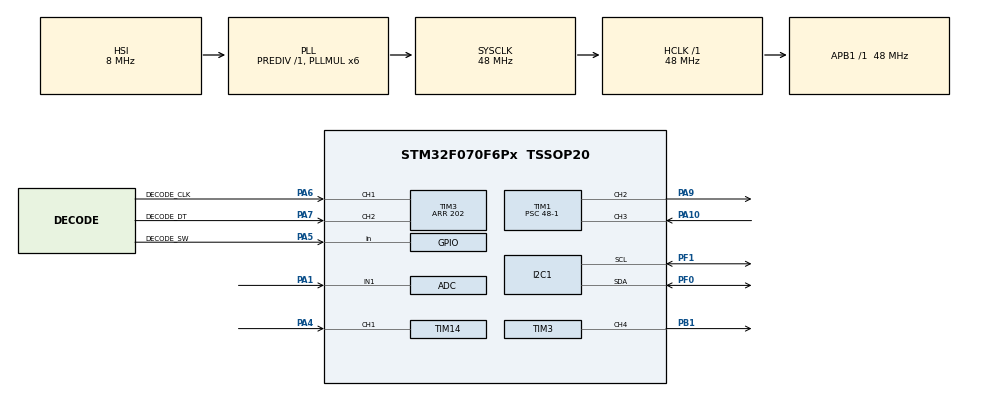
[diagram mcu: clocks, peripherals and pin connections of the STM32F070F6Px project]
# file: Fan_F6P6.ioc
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Mcu.Family=STM32F0
Mcu.Name=STM32F070F6Px
Mcu.Package=TSSOP20
NVIC.TIM16_IRQn=true\:0\:0\:false\:false\:true\:true\:true\:true
NVIC.TIM17_IRQn=true\:0\:0\:false\:false\:true\:true\:true\:true
NVIC.TIM1_CC_IRQn=true\:0\:0\:false\:false\:true\:true\:true\:true
PA1.Mode=IN1
PA1.Signal=ADC_IN1
PA10.Signal=S_TIM1_CH3
PA13.Mode=Serial_Wire
PA13.Signal=SYS_SWDIO
PA14.Mode=Serial_Wire
PA14.Signal=SYS_SWCLK
PA4.Signal=S_TIM14_CH1
PA5.GPIO_Label=DECODE_SW
PA5.GPIO_PuPd=GPIO_PULLUP
PA5.Signal=GPIO_Input
PA6.GPIO_Label=DECODE_CLK
PA6.GPIO_PuPd=GPIO_PULLUP
PA6.Signal=S_TIM3_CH1
PA7.GPIO_Label=DECODE_DT
PA7.GPIO_PuPd=GPIO_PULLUP
PA7.Signal=S_TIM3_CH2
PA9.Signal=S_TIM1_CH2
PB1.Signal=S_TIM3_CH4
PF0-OSC_IN.Mode=I2C
PF0-OSC_IN.Signal=I2C1_SDA
PF1-OSC_OUT.Mode=I2C
PF1-OSC_OUT.Signal=I2C1_SCL
ProjectManager.HeapSize=0x200
ProjectManager.StackSize=0x400
ProjectManager.TargetToolchain=STM32CubeIDE
RCC.AHBFreq_Value=48000000
RCC.APB1Freq_Value=48000000
RCC.APB1TimFreq_Value=48000000
RCC.HCLKFreq_Value=48000000
RCC.PLLMUL=RCC_PLL_MUL6
RCC.SYSCLKFreq_VALUE=48000000
RCC.SYSCLKSource=RCC_SYSCLKSOURCE_PLLCLK
SH.S_TIM14_CH1.0=TIM14_CH1,Input_Capture1_from_TI1
SH.S_TIM1_CH2.0=TIM1_CH2,PWM Generation2 CH2
SH.S_TIM1_CH3.0=TIM1_CH3,Input_Capture3_from_TI3
SH.S_TIM3_CH1.0=TIM3_CH1,Encoder_Interface
SH.S_TIM3_CH2.0=TIM3_CH2,Encoder_Interface
SH.S_TIM3_CH4.0=TIM3_CH4,PWM Generation4 CH4
TIM1.Channel-Input_Capture3_from_TI3=TIM_CHANNEL_3
TIM1.Channel-PWM\ Generation2\ CH2=TIM_CHANNEL_2
TIM1.ICFilter_CH3=5
TIM1.ICPolarity_CH3=TIM_INPUTCHANNELPOLARITY_FALLING
TIM1.ICPrescaler-Input_Capture3_from_TI3=TIM_ICPSC_DIV4
TIM1.OC2Preload_PWM=DISABLE
TIM1.Period=100
TIM1.Prescaler=48-1
TIM1.Pulse-PWM\ Generation2\ CH2=50
TIM14.Channel=TIM_CHANNEL_1
TIM14.ICFilter_CH1=15
TIM16.Period=1000-1
TIM16.Prescaler=48000-1
TIM17.Period=250-1
TIM17.Prescaler=48000-1
TIM3.Channel-PWM\ Generation4\ CH4=TIM_CHANNEL_4
TIM3.IC1Filter=15
TIM3.IC1Polarity=TIM_ICPOLARITY_FALLING
TIM3.IC2Filter=15
TIM3.IC2Polarity=TIM_ICPOLARITY_FALLING
TIM3.Period=202
VP_TIM14_VS_ClockSourceINT.Mode=Enable_Timer
VP_TIM16_VS_ClockSourceINT.Mode=Enable_Timer
VP_TIM17_VS_ClockSourceINT.Mode=Enable_Timer
board=custom

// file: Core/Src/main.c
/* USER CODE BEGIN Header */
/**
  ******************************************************************************
  * @file           : main.c
  * @brief          : Main program body
  ******************************************************************************
  * @attention
  *
  * Copyright (c) 2024 STMicroelectronics.
  * All rights reserved.
  *
  * This software is licensed under terms that can be found in the LICENSE file
  * in the root directory of this software component.
  * If no LICENSE file comes with this software, it is provided AS-IS.
  *
  ******************************************************************************
  */
/* USER CODE END Header */
#include "main.h"
#include "adc.h"
#include "i2c.h"
#include "tim.h"
#include "gpio.h"

/* USER CODE BEGIN Includes */
#include "u8g2/u8g2.h"
/* USER CODE END Includes */

/* USER CODE BEGIN PTD */
static u8g2_t u8g2;
/* USER CODE END PTD */

/* USER CODE BEGIN PV */

const char *data[] = {
    "000", "001", "002", "003", "004", "005", "006", "007", "008", "009",
    "010", "011", "012", "013", "014", "015", "016", "017", "018", "019",
    "020", "021", "022", "023", "024", "025", "026", "027", "028", "029",
    "030", "031", "032", "033", "034", "035", "036", "037", "038", "039",
    "040", "041", "042", "043", "044", "045", "046", "047", "048", "049",
    "050", "051", "052", "053", "054", "055", "056", "057", "058", "059",
    "060", "061", "062", "063", "064", "065", "066", "067", "068", "069",
    "070", "071", "072", "073", "074", "075", "076", "077", "078", "079",
    "080", "081", "082", "083", "084", "085", "086", "087", "088", "089",
    "090", "091", "092", "093", "094", "095", "096", "097", "098", "099",
    "100"
};

const char *Rdata[] = {"0", "1", "2", "3", "4", "5", "6", "7", "8", "9"};

int pos = 0;
int posValue[128] = {};

uint32_t Fan1_RValue = 0;
int Fan1_RData[5];
int Fan1_Speed = 0;
int Fan2_Speed = 0;
int Fan_number = 1;
int Before_Speed = 0;
int After_Speed = 0;

int long_SW = 320000;

/* USER CODE END PV */

void SystemClock_Config(void);
/* USER CODE BEGIN PFP */

void drawCurve(u8g2_t u8g2, int value) {
//  u8g2_DrawCircle(&u8g2,15,45,1,U8G2_DRAW_ALL);
  if (pos > 128) {
    pos = 15;
  } else if (pos < 15) {
    pos = 15;
  }
  pos = pos + 1;
  posValue[pos - 15] = value;
  u8g2_DrawVLine(&u8g2, pos, 0, 46);
  for (int i = 0; i < 115; i++) {
    int y1 = 46 - ((posValue[i] / 2));
    int y2 = 46 - ((posValue[i] / 2));
    if (y1 <= 0) {
      y1 = 0;
    } else if (y1 >= 46) {
      y1 = 46;
    }
    if (y2 <= 0) {
      y2 = 0;
    } else if (y2 >= 46) {
      y2 = 46;
    }
    u8g2_DrawLine(&u8g2, i + 15, y1, i + 15, y2);
//    u8g2_DrawPixel(&u8g2, i + 15, y1);
  }

}

void drawUI(u8g2_t u8g2) {
  u8g2_SetFontDirection(&u8g2, 3);
  u8g2_DrawStr(&u8g2, 14, 24, "Fan1");
  u8g2_DrawHLine(&u8g2, 3, 0, 13);

  u8g2_DrawStr(&u8g2, 14, 61, "Fan2");

  u8g2_DrawVLine(&u8g2, 15, 0, 64);

  if (Fan_number == 1) {
    u8g2_DrawLine(&u8g2, 14, 35, 3, 24);
    u8g2_DrawLine(&u8g2, 10, 32, 3, 39);
  } else if (Fan_number == 2) {
    u8g2_DrawLine(&u8g2, 10, 31, 3, 24);
    u8g2_DrawLine(&u8g2, 14, 28, 3, 39);
  }

  u8g2_DrawVLine(&u8g2, 3, 0, 24);
  // u8g2_DrawLine(&u8g2,14,35,3,24);
//  u8g2_DrawLine(&u8g2, 10, 31, 3, 24);

  u8g2_DrawVLine(&u8g2, 3, 39, 24);
  // u8g2_DrawLine(&u8g2, 14, 28, 3, 39);
//  u8g2_DrawLine(&u8g2,10,32,3,39);

  for (int i = 0; i < 10; i++) {
    for (int j = 0; j < 22; j++) {
      u8g2_DrawPixel(&u8g2, 20 + (5 * j), (5 * i) + 1);
    }
  }

  u8g2_DrawHLine(&u8g2, 15, 46, 113);
  u8g2_SetFontDirection(&u8g2, 0);
  if (Fan1_Speed == 0 && Fan_number == 1){
    u8g2_DrawStr(&u8g2, 19, 59, "OFF");
  } else if (Fan1_Speed != 0 && Fan_number == 1){
    u8g2_DrawStr(&u8g2, 22, 59, "ON");
  }

  if (Fan2_Speed == 0 && Fan_number == 2){
    u8g2_DrawStr(&u8g2, 19, 59, "OFF");
  } else if (Fan2_Speed != 0 && Fan_number == 2){
    u8g2_DrawStr(&u8g2, 22, 59, "ON");
  }

//  u8g2_DrawStr(&u8g2, 22, 59, "ON");
//  u8g2_DrawStr(&u8g2,19,60,"OFF");

  u8g2_DrawVLine(&u8g2, 41, 46, 18);

  u8g2_DrawStr(&u8g2, 46, 59, "S.");
  u8g2_DrawStr(&u8g2, 75, 59, "%");
  //  u8g2_DrawStr(&u8g2, 57, 60, data[0]);
  //  u8g2_DrawStr(&u8g2, 57, 60, "10");
  //  u8g2_DrawStr(&u8g2, 57, 60, "AUTO");

  u8g2_DrawStr(&u8g2, 85, 59, "R.");
  u8g2_DrawStr(&u8g2, 96, 59, Rdata[Fan1_RData[4]]);
  u8g2_DrawStr(&u8g2, 102, 59, Rdata[Fan1_RData[3]]);
  u8g2_DrawStr(&u8g2, 108, 59, Rdata[Fan1_RData[2]]);
  u8g2_DrawStr(&u8g2, 114, 59, Rdata[Fan1_RData[1]]);
  u8g2_DrawStr(&u8g2, 120, 59, Rdata[Fan1_RData[0]]);
  //  u8g2_DrawStr(&u8g2, 96, 60, "-----");
  //  u8g2_DrawStr(&u8g2,97,60,"00000"); // 57
  u8g2_DrawVLine(&u8g2, 127, 46, 18);
  u8g2_DrawHLine(&u8g2, 3, 63, 125);

}

/* USER CODE END PFP */

/* USER CODE BEGIN 0 */
void HAL_TIM_IC_CaptureCallback(TIM_HandleTypeDef *htim) {
  if (htim == &htim1 && htim->Channel == HAL_TIM_ACTIVE_CHANNEL_3) {
    Fan1_RValue = Fan1_RValue + HAL_TIM_ReadCapturedValue(htim, TIM_CHANNEL_3);
    if (Fan1_RValue >= 100000) {
      Fan1_RValue = 99999;
    }
    Fan1_RData[0] = Fan1_RValue % 10;        // 个位
    Fan1_RData[1] = (Fan1_RValue / 10) % 10;  // 十位
    Fan1_RData[2] = (Fan1_RValue / 100) % 10; // 百位
    Fan1_RData[3] = (Fan1_RValue / 1000) % 10; // 千位
    Fan1_RData[4] = (Fan1_RValue / 10000) % 10; // 万位
  }

}

void HAL_TIM_PeriodElapsedCallback(TIM_HandleTypeDef *htim) {
  if (htim == &htim16) {
    Fan1_RValue = 0;
  }
  if (htim == &htim17) {
    if (Fan1_Speed > 201) {
      Fan1_Speed = 200;
    } else if (Fan1_Speed < 0) {
      Fan1_Speed = 0;
    }
    if (Fan2_Speed > 201) {
      Fan2_Speed = 200;
    } else if (Fan2_Speed < 0) {
      Fan2_Speed = 0;
    }
    u8g2_ClearBuffer(&u8g2);
    // u8g2_DrawLine(&u8g2, 10, 10, 10, long_SW / 100);
    drawUI(u8g2);
    if (Fan_number == 1) {
      drawCurve(u8g2, Fan1_Speed / 2);
      u8g2_DrawStr(&u8g2, 57, 59, data[Fan1_Speed / 2]);
    } else {
      drawCurve(u8g2, Fan2_Speed / 2);
      u8g2_DrawStr(&u8g2, 57, 59, data[Fan2_Speed / 2]);
    }

    u8g2_SendBuffer(&u8g2);
  }
}

/* USER CODE END 0 */

int main(void)
{

  /* MCU Configuration--------------------------------------------------------*/

  /* Reset of all peripherals, Initializes the Flash interface and the Systick. */
  HAL_Init();

  /* Configure the system clock */
  SystemClock_Config();

  /* Initialize all configured peripherals */
  MX_GPIO_Init();
  MX_ADC_Init();
  MX_I2C1_Init();
  MX_TIM1_Init();
  MX_TIM3_Init();
  MX_TIM14_Init();
  MX_TIM16_Init();
  MX_TIM17_Init();
  /* USER CODE BEGIN 2 */

  u8g2Init(&u8g2);

  // HAL_TIM_Base_Start_IT(&htim1);

  HAL_TIM_Encoder_Start(&htim3, TIM_CHANNEL_1 | TIM_CHANNEL_2);

  HAL_TIM_Base_Start(&htim1);

  HAL_TIM_Base_Start_IT(&htim16);
  HAL_TIM_Base_Start_IT(&htim17);
  HAL_TIM_PWM_Start(&htim3, TIM_CHANNEL_4); // fan2 pwm output
  HAL_TIM_PWM_Start(&htim1, TIM_CHANNEL_2); // fan1 pwm output
  HAL_TIM_IC_Start_IT(&htim1, TIM_CHANNEL_3);

//  HAL_TIM_PWM_Start_IT(&htim16, TIM_CHANNEL_1);

  //  fan1 pwm input
  //  HAL_TIM_IC_Start(&htim1, TIM_CHANNEL_3);
  //  HAL_TIM_IC_Start(&htim1, TIM_CHANNEL_4);
  //
  //  fan2 pwm input
  //  HAL_TIM_IC_Start(&htim14, TIM_CHANNEL_1);

  //  u8g2_SetDisplayRotation(&u8g2, U8G2_R1);
  u8g2_SetFont(&u8g2, u8g2_font_t0_11_tr);
  //  u8g2_DrawBox(&u8g2, 0, 0, 10, 10);

  drawUI(u8g2);

  u8g2_SendBuffer(&u8g2);

  //  __HAL_TIM_SET_COMPARE(&htim1, TIM_CHANNEL_2, 10);

  /* USER CODE END 2 */

  /* Infinite loop */
  /* USER CODE BEGIN WHILE */
  while (1) {

    if (Before_Speed - __HAL_TIM_GET_COUNTER(&htim3) > 0) {
      After_Speed = Before_Speed - __HAL_TIM_GET_COUNTER(&htim3);
    } else if (Before_Speed - __HAL_TIM_GET_COUNTER(&htim3) < 0) {
      After_Speed = Before_Speed - __HAL_TIM_GET_COUNTER(&htim3);
    } else {
      After_Speed = 0;
    }

    if (Fan_number == 1) {
      if (Fan1_Speed > 202) {
        Fan1_Speed = 202;
      } else if (Fan1_Speed < 0) {
        Fan1_Speed = 0;
      }
      __HAL_TIM_SET_COMPARE(&htim1, TIM_CHANNEL_2, Fan1_Speed / 2);
      Fan1_Speed = Fan1_Speed + After_Speed;
    } else {
      if (Fan2_Speed > 202) {
        Fan2_Speed = 202;
      } else if (Fan2_Speed < 0) {
        Fan2_Speed = 0;
      }
      __HAL_TIM_SET_COMPARE(&htim3, TIM_CHANNEL_4, Fan2_Speed / 2);
      Fan2_Speed = Fan2_Speed + After_Speed;
    }

    Before_Speed = __HAL_TIM_GET_COUNTER(&htim3);

    if (HAL_GPIO_ReadPin(DECODE_SW_GPIO_Port, DECODE_SW_Pin) == GPIO_PIN_RESET) {
      if (Fan_number == 1) {
        Fan_number = 2;
      } else {
        Fan_number = 1;
      }
    }
    while (HAL_GPIO_ReadPin(DECODE_SW_GPIO_Port, DECODE_SW_Pin) == GPIO_PIN_RESET);

    HAL_Delay(100);

    /* USER CODE END WHILE */

  }
}

void SystemClock_Config(void)
{
  RCC_OscInitTypeDef RCC_OscInitStruct = {0};
  RCC_ClkInitTypeDef RCC_ClkInitStruct = {0};
  RCC_PeriphCLKInitTypeDef PeriphClkInit = {0};

  /** Initializes the RCC Oscillators according to the specified parameters
  * in the RCC_OscInitTypeDef structure.
  */
  RCC_OscInitStruct.OscillatorType = RCC_OSCILLATORTYPE_HSI|RCC_OSCILLATORTYPE_HSI14;
  RCC_OscInitStruct.HSIState = RCC_HSI_ON;
  RCC_OscInitStruct.HSI14State = RCC_HSI14_ON;
  RCC_OscInitStruct.HSICalibrationValue = RCC_HSICALIBRATION_DEFAULT;
  RCC_OscInitStruct.HSI14CalibrationValue = 16;
  RCC_OscInitStruct.PLL.PLLState = RCC_PLL_ON;
  RCC_OscInitStruct.PLL.PLLSource = RCC_PLLSOURCE_HSI;
  RCC_OscInitStruct.PLL.PLLMUL = RCC_PLL_MUL6;
  RCC_OscInitStruct.PLL.PREDIV = RCC_PREDIV_DIV1;
  if (HAL_RCC_OscConfig(&RCC_OscInitStruct) != HAL_OK)
  {
    Error_Handler();
  }

  /** Initializes the CPU, AHB and APB buses clocks
  */
  RCC_ClkInitStruct.ClockType = RCC_CLOCKTYPE_HCLK|RCC_CLOCKTYPE_SYSCLK
                              |RCC_CLOCKTYPE_PCLK1;
  RCC_ClkInitStruct.SYSCLKSource = RCC_SYSCLKSOURCE_PLLCLK;
  RCC_ClkInitStruct.AHBCLKDivider = RCC_SYSCLK_DIV1;
  RCC_ClkInitStruct.APB1CLKDivider = RCC_HCLK_DIV1;

  if (HAL_RCC_ClockConfig(&RCC_ClkInitStruct, FLASH_LATENCY_1) != HAL_OK)
  {
    Error_Handler();
  }
  PeriphClkInit.PeriphClockSelection = RCC_PERIPHCLK_I2C1;
  PeriphClkInit.I2c1ClockSelection = RCC_I2C1CLKSOURCE_HSI;
  if (HAL_RCCEx_PeriphCLKConfig(&PeriphClkInit) != HAL_OK)
  {
    Error_Handler();
  }
  HAL_RCC_MCOConfig(RCC_MCO, RCC_MCO1SOURCE_SYSCLK, RCC_MCODIV_1);
}

void Error_Handler(void)
{
  __disable_irq();
  while (1) {
  }
}
